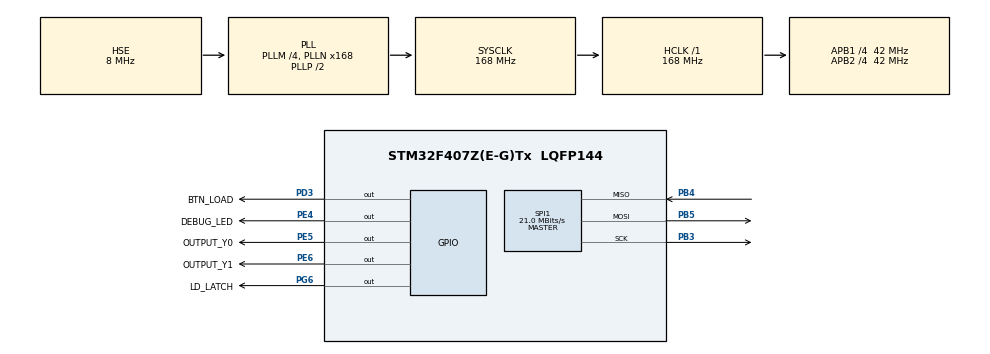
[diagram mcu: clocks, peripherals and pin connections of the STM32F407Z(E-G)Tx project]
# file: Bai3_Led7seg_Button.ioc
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Mcu.Family=STM32F4
Mcu.Name=STM32F407Z(E-G)Tx
Mcu.Package=LQFP144
NVIC.PriorityGroup=NVIC_PRIORITYGROUP_4
NVIC.TIM2_IRQn=true\:0\:0\:false\:false\:true\:true\:true
PA13.Mode=Serial_Wire
PA13.Signal=SYS_JTMS-SWDIO
PA14.Mode=Serial_Wire
PA14.Signal=SYS_JTCK-SWCLK
PB3.Mode=Full_Duplex_Master
PB3.Signal=SPI1_SCK
PB4.Mode=Full_Duplex_Master
PB4.Signal=SPI1_MISO
PB5.Mode=Full_Duplex_Master
PB5.Signal=SPI1_MOSI
PD3.GPIO_Label=BTN_LOAD
PD3.Signal=GPIO_Output
PE4.GPIO_Label=DEBUG_LED
PE4.Signal=GPIO_Output
PE5.GPIO_Label=OUTPUT_Y0
PE5.Signal=GPIO_Output
PE6.GPIO_Label=OUTPUT_Y1
PE6.Signal=GPIO_Output
PG6.GPIO_Label=LD_LATCH
PG6.Signal=GPIO_Output
PH0-OSC_IN.Mode=HSE-External-Oscillator
PH0-OSC_IN.Signal=RCC_OSC_IN
PH1-OSC_OUT.Mode=HSE-External-Oscillator
PH1-OSC_OUT.Signal=RCC_OSC_OUT
ProjectManager.HeapSize=0x200
ProjectManager.StackSize=0x400
ProjectManager.TargetToolchain=STM32CubeIDE
RCC.48MHZClocksFreq_Value=84000000
RCC.AHBFreq_Value=168000000
RCC.APB1CLKDivider=RCC_HCLK_DIV4
RCC.APB1Freq_Value=42000000
RCC.APB1TimFreq_Value=84000000
RCC.APB2CLKDivider=RCC_HCLK_DIV4
RCC.APB2Freq_Value=42000000
RCC.APB2TimFreq_Value=84000000
RCC.CortexFreq_Value=168000000
RCC.HCLKFreq_Value=168000000
RCC.HSE_VALUE=8000000
RCC.HSI_VALUE=16000000
RCC.LSE_VALUE=32768
RCC.PLLM=4
RCC.PLLN=168
RCC.PLLSourceVirtual=RCC_PLLSOURCE_HSE
RCC.SYSCLKFreq_VALUE=168000000
RCC.SYSCLKSource=RCC_SYSCLKSOURCE_PLLCLK
RCC.VCOOutputFreq_Value=336000000
SPI1.CalculateBaudRate=21.0 MBits/s
SPI1.Direction=SPI_DIRECTION_2LINES
SPI1.Mode=SPI_MODE_MASTER
SPI1.VirtualType=VM_MASTER
TIM2.Period=100-1
TIM2.Prescaler=840-1
VP_TIM2_VS_ClockSourceINT.Mode=Internal
board=custom

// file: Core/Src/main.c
/* USER CODE BEGIN Header */
/**
  ******************************************************************************
  * @file           : main.c
  * @brief          : Main program body
  ******************************************************************************
  * @attention
  *
  * <h2><center>&copy; Copyright (c) 2023 STMicroelectronics.
  * All rights reserved.</center></h2>
  *
  * This software component is licensed by ST under BSD 3-Clause license,
  * the "License"; You may not use this file except in compliance with the
  * License. You may obtain a copy of the License at:
  *                        opensource.org/licenses/BSD-3-Clause
  *
  ******************************************************************************
  */
/* USER CODE END Header */
#include "main.h"
#include "spi.h"
#include "tim.h"
#include "gpio.h"

/* USER CODE BEGIN Includes */
#include "software_timer.h"
#include "button.h"
#include "led7seg.h"
/* USER CODE END Includes */

/* USER CODE BEGIN PV */
uint8_t count_led_debug = 0;
uint8_t count_led_Y0 = 0;
uint8_t count_led_Y1 = 0;

uint16_t count_led7 = 0;
/* USER CODE END PV */

void SystemClock_Config(void);
/* USER CODE BEGIN PFP */
void system_init();
void test_LedDebug();
void test_LedY0();
void test_LedY1();
void test_button();
uint8_t isButtonUp();
uint8_t isButtonDown();
void test_button();
/* USER CODE END PFP */

int main(void)
{

  /* MCU Configuration--------------------------------------------------------*/

  /* Reset of all peripherals, Initializes the Flash interface and the Systick. */
  HAL_Init();

  /* Configure the system clock */
  SystemClock_Config();

  /* Initialize all configured peripherals */
  MX_GPIO_Init();
  MX_TIM2_Init();
  MX_SPI1_Init();
  /* USER CODE BEGIN 2 */
  system_init();
  led7_SetDigit(9, 0, 0);
  led7_SetDigit(4, 1, 1);
  led7_SetDigit(2, 2, 0);
  led7_SetDigit(7, 3, 0);
  led7_SetColon(0);
  led_On(6);
  led_Off(7);
  led_On(8);
  HAL_Delay(3000);
  /* USER CODE END 2 */

  /* Infinite loop */
  /* USER CODE BEGIN WHILE */
  while (1)
  {
	  while(!flag_timer2);
	  flag_timer2 = 0;
	  button_Scan();
	  test_button();
	  test_LedDebug();
    /* USER CODE END WHILE */

  }
}

void SystemClock_Config(void)
{
  RCC_OscInitTypeDef RCC_OscInitStruct = {0};
  RCC_ClkInitTypeDef RCC_ClkInitStruct = {0};

  /** Configure the main internal regulator output voltage
  */
  __HAL_RCC_PWR_CLK_ENABLE();
  __HAL_PWR_VOLTAGESCALING_CONFIG(PWR_REGULATOR_VOLTAGE_SCALE1);
  /** Initializes the RCC Oscillators according to the specified parameters
  * in the RCC_OscInitTypeDef structure.
  */
  RCC_OscInitStruct.OscillatorType = RCC_OSCILLATORTYPE_HSE;
  RCC_OscInitStruct.HSEState = RCC_HSE_ON;
  RCC_OscInitStruct.PLL.PLLState = RCC_PLL_ON;
  RCC_OscInitStruct.PLL.PLLSource = RCC_PLLSOURCE_HSE;
  RCC_OscInitStruct.PLL.PLLM = 4;
  RCC_OscInitStruct.PLL.PLLN = 168;
  RCC_OscInitStruct.PLL.PLLP = RCC_PLLP_DIV2;
  RCC_OscInitStruct.PLL.PLLQ = 4;
  if (HAL_RCC_OscConfig(&RCC_OscInitStruct) != HAL_OK)
  {
    Error_Handler();
  }
  /** Initializes the CPU, AHB and APB buses clocks
  */
  RCC_ClkInitStruct.ClockType = RCC_CLOCKTYPE_HCLK|RCC_CLOCKTYPE_SYSCLK
                              |RCC_CLOCKTYPE_PCLK1|RCC_CLOCKTYPE_PCLK2;
  RCC_ClkInitStruct.SYSCLKSource = RCC_SYSCLKSOURCE_PLLCLK;
  RCC_ClkInitStruct.AHBCLKDivider = RCC_SYSCLK_DIV1;
  RCC_ClkInitStruct.APB1CLKDivider = RCC_HCLK_DIV4;
  RCC_ClkInitStruct.APB2CLKDivider = RCC_HCLK_DIV4;

  if (HAL_RCC_ClockConfig(&RCC_ClkInitStruct, FLASH_LATENCY_5) != HAL_OK)
  {
    Error_Handler();
  }
}

/* USER CODE BEGIN 4 */
void system_init(){
	  HAL_GPIO_WritePin(OUTPUT_Y0_GPIO_Port, OUTPUT_Y0_Pin, 0);
	  HAL_GPIO_WritePin(OUTPUT_Y1_GPIO_Port, OUTPUT_Y1_Pin, 0);
	  HAL_GPIO_WritePin(DEBUG_LED_GPIO_Port, DEBUG_LED_Pin, 0);
	  timer_init();
	  led7_init();
	  button_init();
	  setTimer2(50);
	  HAL_Delay(1000);
}

void test_LedDebug(){
	count_led_debug = (count_led_debug + 1)%20;
	if(count_led_debug == 0){
		HAL_GPIO_TogglePin(DEBUG_LED_GPIO_Port, DEBUG_LED_Pin);
	}
}

void test_LedY0(){
	count_led_Y0 = (count_led_Y0+ 1)%100;
	if(count_led_Y0 > 40){
		HAL_GPIO_WritePin(OUTPUT_Y0_GPIO_Port, OUTPUT_Y0_Pin, 1);
	} else {
		HAL_GPIO_WritePin(OUTPUT_Y0_GPIO_Port, OUTPUT_Y0_Pin, 0);
	}
}

void test_LedY1(){
	count_led_Y1 = (count_led_Y1+ 1)%40;
	if(count_led_Y1 > 10){
		HAL_GPIO_WritePin(OUTPUT_Y1_GPIO_Port, OUTPUT_Y1_Pin, 0);
	} else {
		HAL_GPIO_WritePin(OUTPUT_Y0_GPIO_Port, OUTPUT_Y1_Pin, 1);
	}
}

void test_button(){
	for(int i = 0; i < 16; i++){
		if(button_count[i] == 1){
			led7_SetDigit(i/10, 2, 0);
			led7_SetDigit(i%10, 3, 0);
		}
	}
	if(isButtonUp()) {
		count_led7 = (count_led7 + 1)%100;
	}
	if(isButtonDown()) {
		if(count_led7 > 0) count_led7--;
	}
	led7_SetDigit(count_led7/10, 0, 0);
	led7_SetDigit(count_led7%10, 1, 0);
}

uint8_t isButtonUp(){
	if(button_count[3] == 1 || (button_count[3] > 20 && button_count[3]%2 == 0)){
		return 1;
	} else return 0;
}

uint8_t isButtonDown(){
	if(button_count[7] == 1){
		return 1;
	} else return 0;
}
/* USER CODE END 4 */

void Error_Handler(void)
{
  __disable_irq();
  while (1)
  {
  }
}

/************************ (C) COPYRIGHT STMicroelectronics *****END OF FILE****/
